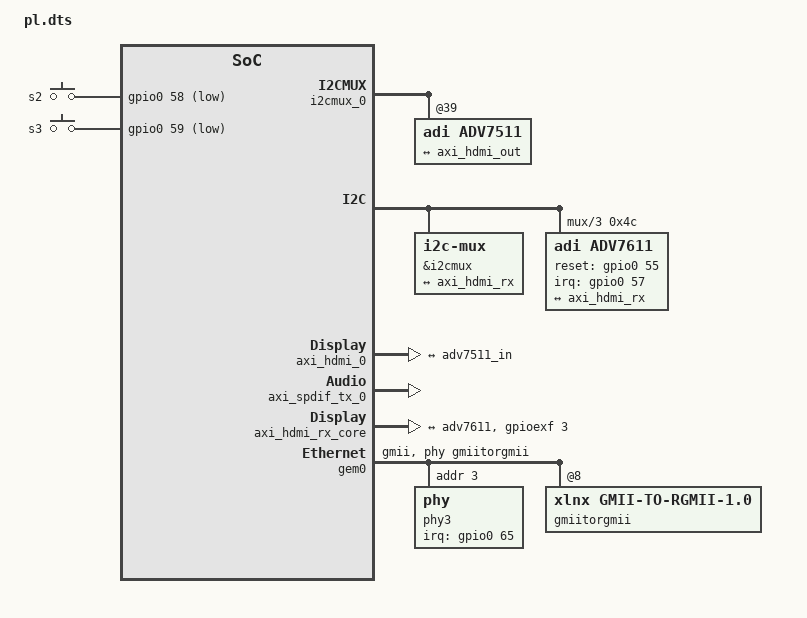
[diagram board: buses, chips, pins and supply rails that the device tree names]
/* Overlay devicetree for the programmable logic part of the florida-gen board */
/dts-v1/;
/plugin/;
  
/ {
	/* This fragment causes the FPGA image to load */
	fragment@0 {
		target = <&fpga_full>;
		__overlay__ {
			firmware-name = "fpga.bin.fpga-image-miami-florida-gen-reference";
		};
	};

	fragment@1 {
		/* On-board push buttons connected to EMIO GPIO 4 and 5 in reference design */
		target-path = "/";
		__overlay__ {
			gpio-keys-emio {
				compatible = "gpio-keys";
				s2 {
					label = "s2";
					gpios = <&gpio0 58 1>; /* EMIO 4, active low */
					linux,code = <60>; /* KEY_F2 */
					gpio-key,wakeup;
				};
				s3 {
					label = "s3";
					gpios = <&gpio0 59 1>; /* EMIO 5, active low */
					linux,code = <61>; /* KEY_F3 */
					gpio-key,wakeup;
				};
			};

			adv7511_hdmi_snd {
				compatible = "simple-audio-card";
				simple-audio-card,name = "HDMI monitor";
				simple-audio-card,widgets =
					"Speaker", "Speaker";
				simple-audio-card,routing =
					"Speaker", "TX";

				simple-audio-card,dai-link@0 {
					format = "spdif";
					cpu {
						sound-dai = <&axi_spdif_tx_0>;
						frame-master;
						bitclock-master;
					};
					codec {
						sound-dai = <&adv7511>;
					};
				};
			};
		};
	};

	fragment@2 {
		target = <&i2cmux_0>;
		__overlay__ {
			#address-cells = <1>;
			#size-cells = <0>;
			adv7511: adv7511@39 {
				compatible = "adi,adv7511";
				reg = <0x39>, <0x3f>;
				reg-names = "primary", "edid";
				adi,input-depth = <8>;
				adi,input-colorspace = "rgb";
				adi,input-clock = "1x";
				adi,input-style = <1>;
				adi,input-justification = "right";
				adi,clock-delay = <0>;
				#sound-dai-cells = <0>;

				ports {
					#address-cells = <1>;
					#size-cells = <0>;
					port@0 {
						reg = <0>;
						adv7511_in: endpoint {
							remote-endpoint = <&axi_hdmi_out>;
						};
					};
					port@1 {
						reg = <1>;
					};
				};
			};
		};
	};

	fragment@3 {
		target = <&i2cmux>;
		__overlay__ {
			#address-cells = <1>;
			#size-cells = <0>;
			i2c@1 {
				/* HDMI O - Connects directly to HDMI connector */
				#address-cells = <1>;
				#size-cells = <0>;
				reg = <1>;
			};
			i2c@3 {
				/* HDMI IN */
				#address-cells = <1>;
				#size-cells = <0>;
				reg = <3>;
				/* copied from zynq-zed-imageon.dts */
				adv7611@4c {
					compatible = "adi,adv7611";
					reg = <0x4c>;
					#address-cells = <0x1>;
					#size-cells = <0x0>;
					bus-width = <24>;
					hsync-active = <0>; /* Parallel bus */
					vsync-active = <0>;
					interrupt-parent = <&gpio0>;
					interrupts = <57 4>; /* EMIO GPIO 3 */
					adi,int1-config = <1>; /* ADV76XX_INT1_CONFIG_ACTIVE_LOW */
					reset-gpios = <&gpio0 55 0>; /* EMIO GPIO 1 */
					port@0 {
						reg = <0x0>;
					};
					port@1 {
						reg = <0x1>;
						adv7611: endpoint {
							bus-width = <16>;
							remote-endpoint = <&axi_hdmi_rx>;
						};
					};
				};
			};
		};
	};

	fragment@4 {
		target = <&amba>;
		__overlay__ {
			#address-cells = <1>;
			#size-cells = <1>;
			interrupt-parent = <&intc>;
			axi_vdma_0: axivdma@43000000 {
				compatible = "xlnx,axi-vdma-1.00.a";
				#address-cells = <1>;
				#size-cells = <1>;
				#dma-cells = <1>;
				#dma-channels = <1>;
				reg = <0x43000000 0x1000>;
				dma-ranges = <0x00000000 0x00000000 0x40000000>;
				xlnx,num-fstores = <3>;
				xlnx,flush-fsync = <1>;
				xlnx,addrwidth = <32>;
				clocks = <&clkc 15>; /* FCLK0 */
				clock-names = "s_axi_lite_aclk";
				dma-channel@43000000 {
					compatible = "xlnx,axi-vdma-mm2s-channel";
					interrupts = <0 59 0x4>;
					xlnx,datawidth = <64>;
					xlnx,genlock-mode = <0x0>;
					xlnx,include-dre = <0x0>;
				};
			};

			axi_hdmi_0: axi_hdmi@70e00000 {
				compatible = "adi,axi-hdmi-tx-1.00.a";
				reg = <0x70e00000 0x10000>;
				adi,is-rgb;
				dmas = <&axi_vdma_0 0>;
				dma-names = "video";
				clocks = <&clockgen 3>;
				port {
					axi_hdmi_out: endpoint {
						remote-endpoint = <&adv7511_in>;
					};
				};
			};

			axi_spdif_tx_0: axi-spdif-tx@75c00000 {
				compatible = "adi,axi-spdif-tx-1.00.a";
				reg = <0x75c00000 0x1000>;
				dmas = <&dmac_s 0>;
				dma-names = "tx";
				clocks = <&clkc 15>, <&clockgen 1>, <&clockgen 1>;
				clock-names = "axi", "ref", "spdif";
				#sound-dai-cells = <0>;
			};

			axi_hdmi_rx_core: axi-hdmi-rx@43c10000 {
				compatible = "adi,axi-hdmi-rx-1.00.a";
				reg = <0x43c10000 0x10000>;
				dmas = <&axi_dmac 0>;
				dma-names = "rx";
				gpios = <&gpioexf 3 0>; /* HPD, hotplug control (?) */

				port {
					#address-cells = <0>;
					#size-cells = <0>;

					axi_hdmi_rx: endpoint {
						remote-endpoint = <&adv7611>;
						bus-width = <24>;
					};
				};
			};

			axi_dmac: dmac@43c00000 {
				compatible = "adi,axi-dmac-1.00.a";
				reg = <0x43c00000 0x10000>;
				#dma-cells = <1>;
				interrupts = <0 58 0>;
				clocks = <&clkc 16>;

				adi,channels {
					#size-cells = <0>;
					#address-cells = <1>;
					dma-channel@0 {
						reg = <0>;
						adi,length-width = <14>;
						adi,source-bus-width = <64>;
						adi,source-bus-type = <2>;
						adi,destination-bus-width = <64>;
						adi,destination-bus-type = <0>;
						adi,2d;
					};
				};
			};

			axi_vdma_1: axivdma@43010000 {
				compatible = "xlnx,axi-vdma-1.00.a";
				#address-cells = <1>;
				#size-cells = <1>;
				#dma-cells = <1>;
				#dma-channels = <1>;
				reg = <0x43010000 0x1000>;
				dma-ranges = <0x00000000 0x00000000 0x40000000>;
				xlnx,num-fstores = <3>;
				xlnx,flush-fsync = <1>;
				xlnx,addrwidth = <32>;
				clocks = <&clkc 15>; /* FCLK0 */
				clock-names = "s_axi_lite_aclk";
				dma-channel@43000000 {
					compatible = "xlnx,axi-vdma-mm2s-channel";
					interrupts = <0 55 0x4>;
					xlnx,datawidth = <64>;
					xlnx,genlock-mode = <0x0>;
					xlnx,include-dre = <0x0>;
				};
			};

			axi_vdma_vga: axi_vdma_vga@7e000000 {
				compatible = "topic,vdma-fb";
				reg = <0x7e000000 0x10000>;
				dmas = <&axi_vdma_1 0>;
				dma-names = "video";
				num-fstores = <3>;
				width = <1024>;
				height = <600>;
				horizontal-sync = <136>;
				horizontal-front-porch = <24>;
				horizontal-back-porch = <160>;
				horizontal-polarity = <0>;
				vertical-sync = <8>;
				vertical-front-porch = <4>;
				vertical-back-porch = <23>;
				vertical-polarity = <0>;
			};
		};
	};

	/* Ethernet PHY via EMIO. Logic contains a GMII to RGMII conversion, so
	 * the emac should see a GMII interface */
	fragment@5 {
		target = <&gem0>;
		__overlay__ {
			status = "okay";
			phy-handle = <&gmiitorgmii>;
			phy-mode = "gmii";

			phy3: phy@3 {
				/* PHY on the board */
				device_type = "ethernet-phy";
				reg = <0x3>;
				interrupt-parent = <&gpio0>;
				interrupts = <65 0x8>; /* GPIO 65 (EMIO 11), IRQ_TYPE_LEVEL_LOW */
				rxc-skew-ps = <1080>; /* Skew RX clock pad by 180 ps */
				txc-skew-ps = <840>;  /* Skew TX clock pad by -60 ps */
			};

			gmiitorgmii: gmiitorgmii@8 {
				compatible = "xlnx,gmii-to-rgmii-1.0";
				reg = <0x8>;
				phy-handle = <&phy3>;
			};
		};
	};

};
